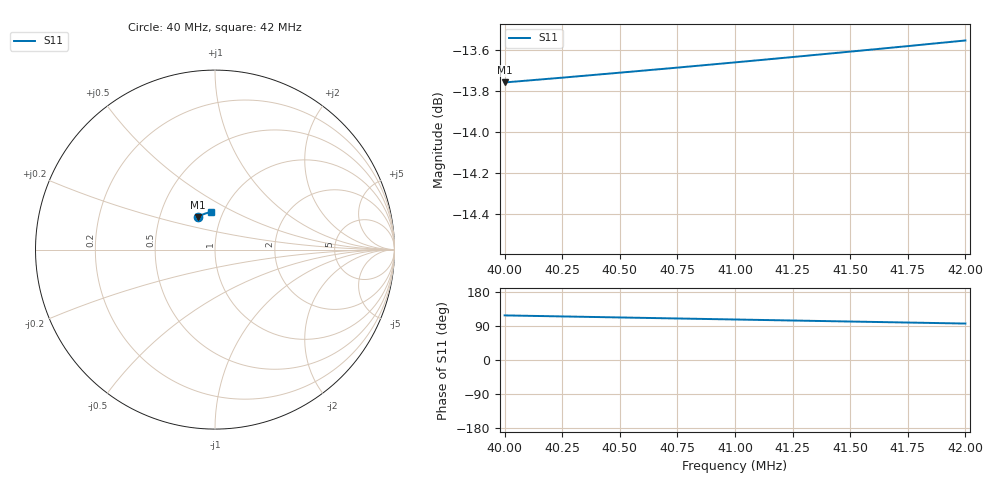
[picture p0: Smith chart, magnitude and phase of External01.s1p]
# Hz S RI R 50
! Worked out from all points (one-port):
!   9 points, 40 MHz to 42 MHz, reference 50 ohm
!   lowest |S11| = -13.8 dB at 40 MHz (marker M1), VSWR 1.52, Z = 38.8 + j14.7 ohm
!   |S11| at or under -10 dB: start of sweep to end of sweep
4e7  -0.0954 0.1816
4.025e7  -0.0869 0.1864
4.05e7  -0.0782 0.1909
4.075e7  -0.0693 0.1949
4.1e7  -0.0603 0.1985
4.125e7  -0.0511 0.2017
4.15e7  -0.0417 0.2045
4.175e7  -0.0322 0.2069
4.2e7  -0.0227 0.2088
